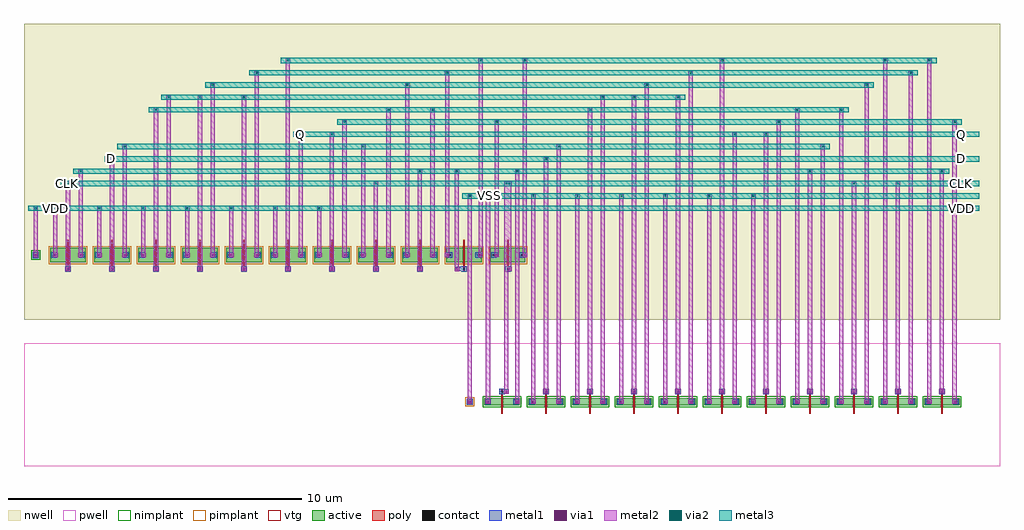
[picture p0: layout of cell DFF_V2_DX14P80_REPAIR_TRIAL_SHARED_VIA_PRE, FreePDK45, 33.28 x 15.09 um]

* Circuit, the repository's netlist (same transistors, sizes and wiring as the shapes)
* cell DFF_V2_DX14P80_REPAIR_TRIAL_SHARED_VIA_PRE
* pin CLK
* pin D
* pin Q
* pin VDD
* pin VSS
.SUBCKT DFF_V2_DX14P80_REPAIR_TRIAL_SHARED_VIA_PRE 1 2 9 12 13
* net 1 CLK
* net 2 D
* net 9 Q
* net 12 VDD
* net 13 VSS
* device instance $1 r0 *1 16.2,7 PMOS_VTG
M$1 11 1 10 12 PMOS_VTG L=0.05U W=0.5U AS=0.2875P AD=0.2875P PS=2.15U PD=2.15U
* device instance $2 r0 *1 14.7,7 PMOS_VTG
M$2 11 5 4 12 PMOS_VTG L=0.05U W=0.5U AS=0.2875P AD=0.2875P PS=2.15U PD=2.15U
* device instance $3 r0 *1 13.2,7 PMOS_VTG
M$3 3 5 8 12 PMOS_VTG L=0.05U W=0.5U AS=0.2875P AD=0.2875P PS=2.15U PD=2.15U
* device instance $4 r0 *1 11.7,7 PMOS_VTG
M$4 3 1 6 12 PMOS_VTG L=0.05U W=0.5U AS=0.2875P AD=0.2875P PS=2.15U PD=2.15U
* device instance $5 r0 *1 10.2,7 PMOS_VTG
M$5 10 9 12 12 PMOS_VTG L=0.05U W=0.5U AS=0.2875P AD=0.2875P PS=2.15U PD=2.15U
* device instance $6 r0 *1 2.7,7 PMOS_VTG
M$6 6 2 12 12 PMOS_VTG L=0.05U W=0.5U AS=0.2875P AD=0.2875P PS=2.15U PD=2.15U
* device instance $7 r0 *1 1.2,7 PMOS_VTG
M$7 5 1 12 12 PMOS_VTG L=0.05U W=0.5U AS=0.2875P AD=0.2875P PS=2.15U PD=2.15U
* device instance $8 r0 *1 8.7,7 PMOS_VTG
M$8 9 11 12 12 PMOS_VTG L=0.05U W=0.5U AS=0.2875P AD=0.2875P PS=2.15U PD=2.15U
* device instance $9 r0 *1 4.2,7 PMOS_VTG
M$9 7 3 12 12 PMOS_VTG L=0.05U W=0.5U AS=0.2875P AD=0.2875P PS=2.15U PD=2.15U
* device instance $10 r0 *1 7.2,7 PMOS_VTG
M$10 4 7 12 12 PMOS_VTG L=0.05U W=0.5U AS=0.2875P AD=0.2875P PS=2.15U PD=2.15U
* device instance $11 r0 *1 5.7,7 PMOS_VTG
M$11 8 7 12 12 PMOS_VTG L=0.05U W=0.5U AS=0.2875P AD=0.2875P PS=2.15U PD=2.15U
* device instance $12 r0 *1 29.5,2 NMOS_VTG
M$12 4 1 11 13 NMOS_VTG L=0.05U W=0.25U AS=0.14375P AD=0.14375P PS=1.65U
+ PD=1.65U
* device instance $13 r0 *1 26.5,2 NMOS_VTG
M$13 6 5 3 13 NMOS_VTG L=0.05U W=0.25U AS=0.14375P AD=0.14375P PS=1.65U PD=1.65U
* device instance $14 r0 *1 25,2 NMOS_VTG
M$14 10 9 13 13 NMOS_VTG L=0.05U W=0.25U AS=0.14375P AD=0.14375P PS=1.65U
+ PD=1.65U
* device instance $15 r0 *1 19,2 NMOS_VTG
M$15 7 3 13 13 NMOS_VTG L=0.05U W=0.25U AS=0.14375P AD=0.14375P PS=1.65U
+ PD=1.65U
* device instance $16 r0 *1 16,2 NMOS_VTG
M$16 5 1 13 13 NMOS_VTG L=0.05U W=0.25U AS=0.14375P AD=0.14375P PS=1.65U
+ PD=1.65U
* device instance $17 r0 *1 28,2 NMOS_VTG
M$17 8 1 3 13 NMOS_VTG L=0.05U W=0.25U AS=0.14375P AD=0.14375P PS=1.65U PD=1.65U
* device instance $18 r0 *1 17.5,2 NMOS_VTG
M$18 6 2 13 13 NMOS_VTG L=0.05U W=0.25U AS=0.14375P AD=0.14375P PS=1.65U
+ PD=1.65U
* device instance $19 r0 *1 31,2 NMOS_VTG
M$19 10 5 11 13 NMOS_VTG L=0.05U W=0.25U AS=0.14375P AD=0.14375P PS=1.65U
+ PD=1.65U
* device instance $20 r0 *1 20.5,2 NMOS_VTG
M$20 8 7 13 13 NMOS_VTG L=0.05U W=0.25U AS=0.14375P AD=0.14375P PS=1.65U
+ PD=1.65U
* device instance $21 r0 *1 22,2 NMOS_VTG
M$21 4 7 13 13 NMOS_VTG L=0.05U W=0.25U AS=0.14375P AD=0.14375P PS=1.65U
+ PD=1.65U
* device instance $22 r0 *1 23.5,2 NMOS_VTG
M$22 9 11 13 13 NMOS_VTG L=0.05U W=0.25U AS=0.14375P AD=0.14375P PS=1.65U
+ PD=1.65U
.ENDS DFF_V2_DX14P80_REPAIR_TRIAL_SHARED_VIA_PRE

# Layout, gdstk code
import gdstk
lib = gdstk.Library(unit=1e-6, precision=5e-10)
def R(c, l, rs):  # rectangles x0, y0, x1, y1
    for r in rs: c.add(gdstk.rectangle(r[:2], r[2:], *l))
def A(c, l, x, y, w, h, nx, ny, dx, dy):  # array of equal rectangles
    R(c, l, [(x+i*dx, y+j*dy, x+i*dx+w, y+j*dy+h) for i in range(nx) for j in range(ny)])
active = (1, 0)
pwell = (2, 0)
nwell = (3, 0)
nimplant = (4, 0)
pimplant = (5, 0)
vtg = (6, 0)
poly = (9, 0)
contact = (10, 0)
metal1 = (11, 0)
via1 = (12, 0)
metal2 = (13, 0)
via2 = (14, 0)
metal3 = (15, 0)

dff_v2_dx14p80_repair_tr = lib.new_cell('DFF_V2_DX14P80_REPAIR_TRIAL_SHARED_VIA_PRE')
A(dff_v2_dx14p80_repair_tr, active, 15.4, 1.875, 1.2, 0.25, 11, 1, 1.5, 0)
A(dff_v2_dx14p80_repair_tr, active, 0.6, 6.75, 1.2, 0.5, 11, 1, 1.5, 0)
R(dff_v2_dx14p80_repair_tr, active, [(14.79,1.89,15.01,2.11), (-0.01,6.89,0.21,7.11)])
R(dff_v2_dx14p80_repair_tr, pwell, [(-0.3,-0.2,32.98,4)])
R(dff_v2_dx14p80_repair_tr, nwell, [(-0.3,4.8,32.98,14.89)])
A(dff_v2_dx14p80_repair_tr, nimplant, 15.34, 1.815, 1.32, 0.37, 11, 1, 1.5, 0)
R(dff_v2_dx14p80_repair_tr, nimplant, [(-0.06,6.84,0.26,7.16)])
A(dff_v2_dx14p80_repair_tr, pimplant, 0.54, 6.69, 1.32, 0.62, 11, 1, 1.5, 0)
R(dff_v2_dx14p80_repair_tr, pimplant, [(14.74,1.84,15.06,2.16)])
A(dff_v2_dx14p80_repair_tr, vtg, 15.965, 1.845, 0.07, 0.31, 11, 1, 1.5, 0)
A(dff_v2_dx14p80_repair_tr, vtg, 1.165, 6.72, 0.07, 0.56, 11, 1, 1.5, 0)
A(dff_v2_dx14p80_repair_tr, poly, 15.975, 1.595, 0.05, 0.81, 11, 1, 1.5, 0)
A(dff_v2_dx14p80_repair_tr, poly, 1.175, 6.47, 0.05, 1.06, 11, 1, 1.5, 0)
A(dff_v2_dx14p80_repair_tr, contact, 15.97, 2.315, 0.065, 0.065, 11, 1, 1.5, 0)
A(dff_v2_dx14p80_repair_tr, contact, 1.17, 6.5, 0.065, 0.065, 11, 1, 1.5, 0)
R(dff_v2_dx14p80_repair_tr, contact, [(14.87,1.97,14.935,2.035), (15.49,1.97,15.555,2.035), (16.45,1.97,16.515,2.035), (16.99,1.97,17.055,2.035), (17.95,1.97,18.015,2.035), (18.49,1.97,18.555,2.035), (19.45,1.97,19.515,2.035), (19.99,1.97,20.055,2.035), (20.95,1.97,21.015,2.035), (21.49,1.97,21.555,2.035), (22.45,1.97,22.515,2.035), (22.99,1.97,23.055,2.035), (23.95,1.97,24.015,2.035), (24.49,1.97,24.555,2.035), (25.45,1.97,25.515,2.035), (25.99,1.97,26.055,2.035), (26.95,1.97,27.015,2.035), (27.49,1.97,27.555,2.035), (28.45,1.97,28.515,2.035), (28.99,1.97,29.055,2.035), (29.95,1.97,30.015,2.035), (30.49,1.97,30.555,2.035), (31.45,1.97,31.515,2.035), (0.07,6.97,0.135,7.035), (0.69,6.97,0.755,7.035), (1.65,6.97,1.715,7.035), (2.19,6.97,2.255,7.035), (3.15,6.97,3.215,7.035), (3.69,6.97,3.755,7.035), (4.65,6.97,4.715,7.035), (5.19,6.97,5.255,7.035), (6.15,6.97,6.215,7.035), (6.69,6.97,6.755,7.035), (7.65,6.97,7.715,7.035), (8.19,6.97,8.255,7.035), (9.15,6.97,9.215,7.035), (9.69,6.97,9.755,7.035), (10.65,6.97,10.715,7.035), (11.19,6.97,11.255,7.035), (12.15,6.97,12.215,7.035), (12.69,6.97,12.755,7.035), (13.65,6.97,13.715,7.035), (14.19,6.97,14.255,7.035), (15.15,6.97,15.215,7.035), (15.69,6.97,15.755,7.035), (16.65,6.97,16.715,7.035)])
A(dff_v2_dx14p80_repair_tr, metal1, 15.91, 2.255, 0.18, 0.18, 11, 1, 1.5, 0)
A(dff_v2_dx14p80_repair_tr, metal1, 17.425, 2.27, 0.15, 0.15, 10, 1, 1.5, 0)
A(dff_v2_dx14p80_repair_tr, metal1, 1.11, 6.44, 0.18, 0.18, 11, 1, 1.5, 0)
A(dff_v2_dx14p80_repair_tr, metal1, 1.125, 6.455, 0.15, 0.15, 9, 1, 1.5, 0)
R(dff_v2_dx14p80_repair_tr, metal1, [(14.8,1.9,15,2.1), (15.43,1.91,15.61,2.09), (16.39,1.91,16.57,2.09), (16.93,1.91,17.11,2.09), (17.89,1.91,18.07,2.09), (18.43,1.91,18.61,2.09), (19.39,1.91,19.57,2.09), (19.93,1.91,20.11,2.09), (20.89,1.91,21.07,2.09), (21.43,1.91,21.61,2.09), (22.39,1.91,22.57,2.09), (22.93,1.91,23.11,2.09), (23.89,1.91,24.07,2.09), (24.43,1.91,24.61,2.09), (25.39,1.91,25.57,2.09), (25.93,1.91,26.11,2.09), (26.89,1.91,27.07,2.09), (27.43,1.91,27.61,2.09), (28.39,1.91,28.57,2.09), (28.93,1.91,29.11,2.09), (29.89,1.91,30.07,2.09), (30.43,1.91,30.61,2.09), (31.39,1.91,31.57,2.09), (14.825,1.925,14.975,2.075), (14.825,1.925,14.975,2.075), (14.825,1.925,14.975,2.075), (14.825,1.925,14.975,2.075), (14.825,1.925,14.975,2.075), (14.825,1.925,14.975,2.075), (14.825,1.925,14.975,2.075), (14.825,1.925,14.975,2.075), (14.825,1.925,14.975,2.075), (14.825,1.925,14.975,2.075), (14.825,1.925,14.975,2.075), (14.825,1.925,14.975,2.075), (15.445,1.925,15.595,2.075), (16.445,1.925,16.595,2.075), (16.995,1.925,17.145,2.075), (17.855,1.925,18.005,2.075), (18.495,1.925,18.645,2.075), (19.355,1.925,19.505,2.075), (19.995,1.925,20.145,2.075), (20.855,1.925,21.005,2.075), (21.495,1.925,21.645,2.075), (22.355,1.925,22.505,2.075), (22.995,1.925,23.145,2.075), (23.855,1.925,24.005,2.075), (24.495,1.925,24.645,2.075), (25.355,1.925,25.505,2.075), (25.995,1.925,26.145,2.075), (26.855,1.925,27.005,2.075), (27.495,1.925,27.645,2.075), (28.355,1.925,28.505,2.075), (28.995,1.925,29.145,2.075), (29.855,1.925,30.005,2.075), (30.495,1.925,30.645,2.075), (31.355,1.925,31.505,2.075), (15.52,1.93,15.57,2.07), (16.43,1.93,16.52,2.07), (16.075,2.27,16.225,2.42), (16,2.275,16.15,2.415), (14.385,6.455,14.535,6.605), (16.175,6.455,16.325,6.605), (14.46,6.46,14.7,6.6), (16.2,6.46,16.25,6.6), (0,6.9,0.2,7.1), (0.63,6.91,0.81,7.09), (1.59,6.91,1.77,7.09), (2.13,6.91,2.31,7.09), (3.09,6.91,3.27,7.09), (3.63,6.91,3.81,7.09), (4.59,6.91,4.77,7.09), (5.13,6.91,5.31,7.09), (6.09,6.91,6.27,7.09), (6.63,6.91,6.81,7.09), (7.59,6.91,7.77,7.09), (8.13,6.91,8.31,7.09), (9.09,6.91,9.27,7.09), (9.63,6.91,9.81,7.09), (10.59,6.91,10.77,7.09), (11.13,6.91,11.31,7.09), (12.09,6.91,12.27,7.09), (12.63,6.91,12.81,7.09), (13.59,6.91,13.77,7.09), (14.13,6.91,14.31,7.09), (15.09,6.91,15.27,7.09), (15.63,6.91,15.81,7.09), (16.59,6.91,16.77,7.09), (0.025,6.925,0.175,7.075), (0.025,6.925,0.175,7.075), (0.025,6.925,0.175,7.075), (0.025,6.925,0.175,7.075), (0.025,6.925,0.175,7.075), (0.025,6.925,0.175,7.075), (0.025,6.925,0.175,7.075), (0.025,6.925,0.175,7.075), (0.025,6.925,0.175,7.075), (0.025,6.925,0.175,7.075), (0.025,6.925,0.175,7.075), (0.025,6.925,0.175,7.075), (0.695,6.925,0.845,7.075), (1.555,6.925,1.705,7.075), (2.195,6.925,2.345,7.075), (3.055,6.925,3.205,7.075), (3.695,6.925,3.845,7.075), (4.555,6.925,4.705,7.075), (5.195,6.925,5.345,7.075), (6.055,6.925,6.205,7.075), (6.695,6.925,6.845,7.075), (7.555,6.925,7.705,7.075), (8.195,6.925,8.345,7.075), (9.055,6.925,9.205,7.075), (9.695,6.925,9.845,7.075), (10.555,6.925,10.705,7.075), (11.195,6.925,11.345,7.075), (12.055,6.925,12.205,7.075), (12.695,6.925,12.845,7.075), (13.555,6.925,13.705,7.075), (14.055,6.925,14.205,7.075), (15.195,6.925,15.345,7.075), (15.745,6.925,15.895,7.075), (16.705,6.925,16.855,7.075), (14.13,6.93,14.27,7.07), (15.13,6.93,15.27,7.07), (15.77,6.93,15.82,7.07), (16.63,6.93,16.78,7.07)])
A(dff_v2_dx14p80_repair_tr, via1, 17.47, 2.315, 0.065, 0.065, 10, 1, 1.5, 0)
A(dff_v2_dx14p80_repair_tr, via1, 1.17, 6.5, 0.065, 0.065, 9, 1, 1.5, 0)
R(dff_v2_dx14p80_repair_tr, via1, [(14.87,1.97,14.935,2.035), (14.87,1.97,14.935,2.035), (14.87,1.97,14.935,2.035), (14.87,1.97,14.935,2.035), (14.87,1.97,14.935,2.035), (14.87,1.97,14.935,2.035), (14.87,1.97,14.935,2.035), (14.87,1.97,14.935,2.035), (14.87,1.97,14.935,2.035), (14.87,1.97,14.935,2.035), (14.87,1.97,14.935,2.035), (14.87,1.97,14.935,2.035), (15.49,1.97,15.555,2.035), (16.49,1.97,16.555,2.035), (17.04,1.97,17.105,2.035), (17.9,1.97,17.965,2.035), (18.54,1.97,18.605,2.035), (19.4,1.97,19.465,2.035), (20.04,1.97,20.105,2.035), (20.9,1.97,20.965,2.035), (21.54,1.97,21.605,2.035), (22.4,1.97,22.465,2.035), (23.04,1.97,23.105,2.035), (23.9,1.97,23.965,2.035), (24.54,1.97,24.605,2.035), (25.4,1.97,25.465,2.035), (26.04,1.97,26.105,2.035), (26.9,1.97,26.965,2.035), (27.54,1.97,27.605,2.035), (28.4,1.97,28.465,2.035), (29.04,1.97,29.105,2.035), (29.9,1.97,29.965,2.035), (30.54,1.97,30.605,2.035), (31.4,1.97,31.465,2.035), (16.12,2.315,16.185,2.38), (14.43,6.5,14.495,6.565), (16.22,6.5,16.285,6.565), (0.07,6.97,0.135,7.035), (0.07,6.97,0.135,7.035), (0.07,6.97,0.135,7.035), (0.07,6.97,0.135,7.035), (0.07,6.97,0.135,7.035), (0.07,6.97,0.135,7.035), (0.07,6.97,0.135,7.035), (0.07,6.97,0.135,7.035), (0.07,6.97,0.135,7.035), (0.07,6.97,0.135,7.035), (0.07,6.97,0.135,7.035), (0.07,6.97,0.135,7.035), (0.74,6.97,0.805,7.035), (1.6,6.97,1.665,7.035), (2.24,6.97,2.305,7.035), (3.1,6.97,3.165,7.035), (3.74,6.97,3.805,7.035), (4.6,6.97,4.665,7.035), (5.24,6.97,5.305,7.035), (6.1,6.97,6.165,7.035), (6.74,6.97,6.805,7.035), (7.6,6.97,7.665,7.035), (8.24,6.97,8.305,7.035), (9.1,6.97,9.165,7.035), (9.74,6.97,9.805,7.035), (10.6,6.97,10.665,7.035), (11.24,6.97,11.305,7.035), (12.1,6.97,12.165,7.035), (12.74,6.97,12.805,7.035), (13.6,6.97,13.665,7.035), (14.1,6.97,14.165,7.035), (15.24,6.97,15.305,7.035), (15.79,6.97,15.855,7.035), (16.75,6.97,16.815,7.035)])
A(dff_v2_dx14p80_repair_tr, metal2, 17, 2, 0.14, 7.02, 6, 1, 1.5, 0)
A(dff_v2_dx14p80_repair_tr, metal2, 17.425, 2.27, 0.15, 0.15, 10, 1, 1.5, 0)
A(dff_v2_dx14p80_repair_tr, metal2, 1.125, 6.455, 0.15, 0.15, 9, 1, 1.5, 0)
A(dff_v2_dx14p80_repair_tr, metal2, 0.7, 7, 0.14, 1.6, 7, 1, 1.5, 0)
A(dff_v2_dx14p80_repair_tr, metal2, 0.695, 8.525, 0.15, 0.15, 7, 1, 1.5, 0)
A(dff_v2_dx14p80_repair_tr, metal2, 16.995, 8.945, 0.15, 0.15, 6, 1, 1.5, 0)
R(dff_v2_dx14p80_repair_tr, metal2, [(14.825,1.925,14.975,2.075), (14.825,1.925,14.975,2.075), (14.825,1.925,14.975,2.075), (14.825,1.925,14.975,2.075), (14.825,1.925,14.975,2.075), (14.825,1.925,14.975,2.075), (14.825,1.925,14.975,2.075), (14.825,1.925,14.975,2.075), (14.825,1.925,14.975,2.075), (14.825,1.925,14.975,2.075), (14.825,1.925,14.975,2.075), (14.825,1.925,14.975,2.075), (15.445,1.925,15.595,2.075), (16.445,1.925,16.595,2.075), (16.995,1.925,17.145,2.075), (17.855,1.925,18.005,2.075), (18.495,1.925,18.645,2.075), (19.355,1.925,19.505,2.075), (19.995,1.925,20.145,2.075), (20.855,1.925,21.005,2.075), (21.495,1.925,21.645,2.075), (22.355,1.925,22.505,2.075), (22.995,1.925,23.145,2.075), (23.855,1.925,24.005,2.075), (24.495,1.925,24.645,2.075), (25.355,1.925,25.505,2.075), (25.995,1.925,26.145,2.075), (26.855,1.925,27.005,2.075), (27.495,1.925,27.645,2.075), (28.355,1.925,28.505,2.075), (28.995,1.925,29.145,2.075), (29.855,1.925,30.005,2.075), (30.495,1.925,30.645,2.075), (31.355,1.925,31.505,2.075), (14.83,2,14.97,9.02), (14.83,2,14.97,9.02), (14.83,2,14.97,9.02), (14.83,2,14.97,9.02), (14.83,2,14.97,9.02), (14.83,2,14.97,9.02), (14.83,2,14.97,9.02), (14.83,2,14.97,9.02), (14.83,2,14.97,9.02), (14.83,2,14.97,9.02), (14.83,2,14.97,9.02), (14.83,2,14.97,9.02), (15.45,2,15.59,9.02), (16.45,2,16.59,9.86), (17.86,2,18,10.7), (19.36,2,19.5,12.38), (20.86,2,21,12.8), (22.36,2,22.5,13.22), (23.86,2,24,11.12), (25.36,2,25.5,11.54), (26,2,26.14,11.96), (26.86,2,27,10.7), (27.5,2,27.64,11.96), (28.36,2,28.5,12.8), (29,2,29.14,13.64), (29.86,2,30,13.22), (30.5,2,30.64,13.64), (31.36,2,31.5,11.54), (16.075,2.27,16.225,2.42), (16.08,2.345,16.22,9.44), (17.43,2.345,17.57,10.28), (18.93,2.345,19.07,11.96), (20.43,2.345,20.57,12.38), (21.93,2.345,22.07,12.38), (23.43,2.345,23.57,13.64), (24.93,2.345,25.07,11.12), (26.43,2.345,26.57,9.86), (27.93,2.345,28.07,9.44), (29.43,2.345,29.57,9.44), (30.93,2.345,31.07,9.86), (14.385,6.455,14.535,6.605), (16.175,6.455,16.325,6.605), (1.13,6.53,1.27,9.44), (2.63,6.53,2.77,10.28), (4.13,6.53,4.27,11.96), (5.63,6.53,5.77,12.38), (7.13,6.53,7.27,12.38), (8.63,6.53,8.77,13.64), (10.13,6.53,10.27,11.12), (11.63,6.53,11.77,9.44), (13.13,6.53,13.27,9.86), (14.39,6.53,14.53,9.86), (16.18,6.53,16.32,9.44), (0.025,6.925,0.175,7.075), (0.025,6.925,0.175,7.075), (0.025,6.925,0.175,7.075), (0.025,6.925,0.175,7.075), (0.025,6.925,0.175,7.075), (0.025,6.925,0.175,7.075), (0.025,6.925,0.175,7.075), (0.025,6.925,0.175,7.075), (0.025,6.925,0.175,7.075), (0.025,6.925,0.175,7.075), (0.025,6.925,0.175,7.075), (0.025,6.925,0.175,7.075), (0.695,6.925,0.845,7.075), (1.555,6.925,1.705,7.075), (2.195,6.925,2.345,7.075), (3.055,6.925,3.205,7.075), (3.695,6.925,3.845,7.075), (4.555,6.925,4.705,7.075), (5.195,6.925,5.345,7.075), (6.055,6.925,6.205,7.075), (6.695,6.925,6.845,7.075), (7.555,6.925,7.705,7.075), (8.195,6.925,8.345,7.075), (9.055,6.925,9.205,7.075), (9.695,6.925,9.845,7.075), (10.555,6.925,10.705,7.075), (11.195,6.925,11.345,7.075), (12.055,6.925,12.205,7.075), (12.695,6.925,12.845,7.075), (13.555,6.925,13.705,7.075), (14.055,6.925,14.205,7.075), (15.195,6.925,15.345,7.075), (15.745,6.925,15.895,7.075), (16.705,6.925,16.855,7.075), (0.03,7,0.17,8.6), (0.03,7,0.17,8.6), (0.03,7,0.17,8.6), (0.03,7,0.17,8.6), (0.03,7,0.17,8.6), (0.03,7,0.17,8.6), (0.03,7,0.17,8.6), (0.03,7,0.17,8.6), (0.03,7,0.17,8.6), (0.03,7,0.17,8.6), (0.03,7,0.17,8.6), (0.03,7,0.17,8.6), (1.56,7,1.7,9.86), (3.06,7,3.2,10.7), (4.56,7,4.7,12.38), (6.06,7,6.2,12.8), (7.56,7,7.7,13.22), (9.06,7,9.2,11.12), (10.56,7,10.7,11.54), (11.2,7,11.34,10.7), (12.06,7,12.2,11.96), (12.7,7,12.84,12.8), (13.56,7,13.7,11.96), (14.06,7,14.2,13.22), (15.2,7,15.34,13.64), (15.75,7,15.89,11.54), (16.71,7,16.85,13.64), (0.025,8.525,0.175,8.675), (0.025,8.525,0.175,8.675), (0.025,8.525,0.175,8.675), (0.025,8.525,0.175,8.675), (0.025,8.525,0.175,8.675), (0.025,8.525,0.175,8.675), (0.025,8.525,0.175,8.675), (0.025,8.525,0.175,8.675), (0.025,8.525,0.175,8.675), (0.025,8.525,0.175,8.675), (0.025,8.525,0.175,8.675), (0.025,8.525,0.175,8.675), (14.825,8.945,14.975,9.095), (14.825,8.945,14.975,9.095), (14.825,8.945,14.975,9.095), (14.825,8.945,14.975,9.095), (14.825,8.945,14.975,9.095), (14.825,8.945,14.975,9.095), (14.825,8.945,14.975,9.095), (14.825,8.945,14.975,9.095), (14.825,8.945,14.975,9.095), (14.825,8.945,14.975,9.095), (14.825,8.945,14.975,9.095), (14.825,8.945,14.975,9.095), (15.445,8.945,15.595,9.095), (1.125,9.365,1.275,9.515), (11.625,9.365,11.775,9.515), (16.075,9.365,16.225,9.515), (16.175,9.365,16.325,9.515), (27.925,9.365,28.075,9.515), (29.425,9.365,29.575,9.515), (1.555,9.785,1.705,9.935), (13.125,9.785,13.275,9.935), (14.385,9.785,14.535,9.935), (16.445,9.785,16.595,9.935), (26.425,9.785,26.575,9.935), (30.925,9.785,31.075,9.935), (2.625,10.205,2.775,10.355), (17.425,10.205,17.575,10.355), (3.055,10.625,3.205,10.775), (11.195,10.625,11.345,10.775), (17.855,10.625,18.005,10.775), (26.855,10.625,27.005,10.775), (9.055,11.045,9.205,11.195), (10.125,11.045,10.275,11.195), (23.855,11.045,24.005,11.195), (24.925,11.045,25.075,11.195), (10.555,11.465,10.705,11.615), (15.745,11.465,15.895,11.615), (25.355,11.465,25.505,11.615), (31.355,11.465,31.505,11.615), (4.125,11.885,4.275,12.035), (12.055,11.885,12.205,12.035), (13.555,11.885,13.705,12.035), (18.925,11.885,19.075,12.035), (25.995,11.885,26.145,12.035), (27.495,11.885,27.645,12.035), (4.555,12.305,4.705,12.455), (5.625,12.305,5.775,12.455), (7.125,12.305,7.275,12.455), (19.355,12.305,19.505,12.455), (20.425,12.305,20.575,12.455), (21.925,12.305,22.075,12.455), (6.055,12.725,6.205,12.875), (12.695,12.725,12.845,12.875), (20.855,12.725,21.005,12.875), (28.355,12.725,28.505,12.875), (7.555,13.145,7.705,13.295), (14.055,13.145,14.205,13.295), (22.355,13.145,22.505,13.295), (29.855,13.145,30.005,13.295), (8.625,13.565,8.775,13.715), (15.195,13.565,15.345,13.715), (16.705,13.565,16.855,13.715), (23.425,13.565,23.575,13.715), (28.995,13.565,29.145,13.715), (30.495,13.565,30.645,13.715)])
A(dff_v2_dx14p80_repair_tr, via2, 0.74, 8.57, 0.065, 0.065, 7, 1, 1.5, 0)
A(dff_v2_dx14p80_repair_tr, via2, 17.04, 8.99, 0.065, 0.065, 6, 1, 1.5, 0)
R(dff_v2_dx14p80_repair_tr, via2, [(0.07,8.57,0.135,8.635), (0.07,8.57,0.135,8.635), (0.07,8.57,0.135,8.635), (0.07,8.57,0.135,8.635), (0.07,8.57,0.135,8.635), (0.07,8.57,0.135,8.635), (0.07,8.57,0.135,8.635), (0.07,8.57,0.135,8.635), (0.07,8.57,0.135,8.635), (0.07,8.57,0.135,8.635), (0.07,8.57,0.135,8.635), (0.07,8.57,0.135,8.635), (14.87,8.99,14.935,9.055), (14.87,8.99,14.935,9.055), (14.87,8.99,14.935,9.055), (14.87,8.99,14.935,9.055), (14.87,8.99,14.935,9.055), (14.87,8.99,14.935,9.055), (14.87,8.99,14.935,9.055), (14.87,8.99,14.935,9.055), (14.87,8.99,14.935,9.055), (14.87,8.99,14.935,9.055), (14.87,8.99,14.935,9.055), (14.87,8.99,14.935,9.055), (15.49,8.99,15.555,9.055), (1.17,9.41,1.235,9.475), (11.67,9.41,11.735,9.475), (16.12,9.41,16.185,9.475), (16.22,9.41,16.285,9.475), (27.97,9.41,28.035,9.475), (29.47,9.41,29.535,9.475), (1.6,9.83,1.665,9.895), (13.17,9.83,13.235,9.895), (14.43,9.83,14.495,9.895), (16.49,9.83,16.555,9.895), (26.47,9.83,26.535,9.895), (30.97,9.83,31.035,9.895), (2.67,10.25,2.735,10.315), (17.47,10.25,17.535,10.315), (3.1,10.67,3.165,10.735), (11.24,10.67,11.305,10.735), (17.9,10.67,17.965,10.735), (26.9,10.67,26.965,10.735), (9.1,11.09,9.165,11.155), (10.17,11.09,10.235,11.155), (23.9,11.09,23.965,11.155), (24.97,11.09,25.035,11.155), (10.6,11.51,10.665,11.575), (15.79,11.51,15.855,11.575), (25.4,11.51,25.465,11.575), (31.4,11.51,31.465,11.575), (4.17,11.93,4.235,11.995), (12.1,11.93,12.165,11.995), (13.6,11.93,13.665,11.995), (18.97,11.93,19.035,11.995), (26.04,11.93,26.105,11.995), (27.54,11.93,27.605,11.995), (4.6,12.35,4.665,12.415), (5.67,12.35,5.735,12.415), (7.17,12.35,7.235,12.415), (19.4,12.35,19.465,12.415), (20.47,12.35,20.535,12.415), (21.97,12.35,22.035,12.415), (6.1,12.77,6.165,12.835), (12.74,12.77,12.805,12.835), (20.9,12.77,20.965,12.835), (28.4,12.77,28.465,12.835), (7.6,13.19,7.665,13.255), (14.1,13.19,14.165,13.255), (22.4,13.19,22.465,13.255), (29.9,13.19,29.965,13.255), (8.67,13.61,8.735,13.675), (15.24,13.61,15.305,13.675), (16.75,13.61,16.815,13.675), (23.47,13.61,23.535,13.675), (29.04,13.61,29.105,13.675), (30.54,13.61,30.605,13.675)])
A(dff_v2_dx14p80_repair_tr, metal3, 0.695, 8.525, 0.15, 0.15, 7, 1, 1.5, 0)
A(dff_v2_dx14p80_repair_tr, metal3, 16.995, 8.945, 0.15, 0.15, 6, 1, 1.5, 0)
R(dff_v2_dx14p80_repair_tr, metal3, [(-0.15,8.51,10.02,8.69), (10.02,8.51,32.28,8.69), (0.025,8.525,0.175,8.675), (0.025,8.525,0.175,8.675), (0.025,8.525,0.175,8.675), (0.025,8.525,0.175,8.675), (0.025,8.525,0.175,8.675), (0.025,8.525,0.175,8.675), (0.025,8.525,0.175,8.675), (0.025,8.525,0.175,8.675), (0.025,8.525,0.175,8.675), (0.025,8.525,0.175,8.675), (0.025,8.525,0.175,8.675), (0.025,8.525,0.175,8.675), (14.65,8.93,24.82,9.11), (24.82,8.93,32.28,9.11), (14.825,8.945,14.975,9.095), (14.825,8.945,14.975,9.095), (14.825,8.945,14.975,9.095), (14.825,8.945,14.975,9.095), (14.825,8.945,14.975,9.095), (14.825,8.945,14.975,9.095), (14.825,8.945,14.975,9.095), (14.825,8.945,14.975,9.095), (14.825,8.945,14.975,9.095), (14.825,8.945,14.975,9.095), (14.825,8.945,14.975,9.095), (14.825,8.945,14.975,9.095), (15.445,8.945,15.595,9.095), (0.95,9.35,29.75,9.53), (29.75,9.35,32.28,9.53), (1.125,9.365,1.275,9.515), (11.625,9.365,11.775,9.515), (16.075,9.365,16.225,9.515), (16.175,9.365,16.325,9.515), (27.925,9.365,28.075,9.515), (29.425,9.365,29.575,9.515), (1.38,9.77,31.25,9.95), (1.555,9.785,1.705,9.935), (13.125,9.785,13.275,9.935), (14.385,9.785,14.535,9.935), (16.445,9.785,16.595,9.935), (26.425,9.785,26.575,9.935), (30.925,9.785,31.075,9.935), (2.45,10.19,17.75,10.37), (17.75,10.19,32.28,10.37), (2.625,10.205,2.775,10.355), (17.425,10.205,17.575,10.355), (2.88,10.61,27.18,10.79), (3.055,10.625,3.205,10.775), (11.195,10.625,11.345,10.775), (17.855,10.625,18.005,10.775), (26.855,10.625,27.005,10.775), (8.88,11.03,25.25,11.21), (25.25,11.03,32.28,11.21), (9.055,11.045,9.205,11.195), (10.125,11.045,10.275,11.195), (23.855,11.045,24.005,11.195), (24.925,11.045,25.075,11.195), (10.38,11.45,31.68,11.63), (10.555,11.465,10.705,11.615), (15.745,11.465,15.895,11.615), (25.355,11.465,25.505,11.615), (31.355,11.465,31.505,11.615), (3.95,11.87,27.82,12.05), (4.125,11.885,4.275,12.035), (12.055,11.885,12.205,12.035), (13.555,11.885,13.705,12.035), (18.925,11.885,19.075,12.035), (25.995,11.885,26.145,12.035), (27.495,11.885,27.645,12.035), (4.38,12.29,22.25,12.47), (4.555,12.305,4.705,12.455), (5.625,12.305,5.775,12.455), (7.125,12.305,7.275,12.455), (19.355,12.305,19.505,12.455), (20.425,12.305,20.575,12.455), (21.925,12.305,22.075,12.455), (5.88,12.71,28.68,12.89), (6.055,12.725,6.205,12.875), (12.695,12.725,12.845,12.875), (20.855,12.725,21.005,12.875), (28.355,12.725,28.505,12.875), (7.38,13.13,30.18,13.31), (7.555,13.145,7.705,13.295), (14.055,13.145,14.205,13.295), (22.355,13.145,22.505,13.295), (29.855,13.145,30.005,13.295), (8.45,13.55,30.82,13.73), (8.625,13.565,8.775,13.715), (15.195,13.565,15.345,13.715), (16.705,13.565,16.855,13.715), (23.425,13.565,23.575,13.715), (28.995,13.565,29.145,13.715), (30.495,13.565,30.645,13.715)])
dff_v2_dx14p80_repair_tr.add(gdstk.Label('VDD', (31.68,8.6), layer=15, texttype=0))
dff_v2_dx14p80_repair_tr.add(gdstk.Label('VDD', (31.68,8.6), layer=15, texttype=1))
dff_v2_dx14p80_repair_tr.add(gdstk.Label('VDD', (31.68,8.6), layer=15, texttype=2))
dff_v2_dx14p80_repair_tr.add(gdstk.Label('VDD', (0.77,8.6), layer=13, texttype=0))
dff_v2_dx14p80_repair_tr.add(gdstk.Label('VDD', (0.77,8.6), layer=13, texttype=1))
dff_v2_dx14p80_repair_tr.add(gdstk.Label('VDD', (0.77,8.6), layer=13, texttype=2))
dff_v2_dx14p80_repair_tr.add(gdstk.Label('VSS', (31.68,9.02), layer=15, texttype=0))
dff_v2_dx14p80_repair_tr.add(gdstk.Label('VSS', (31.68,9.02), layer=15, texttype=1))
dff_v2_dx14p80_repair_tr.add(gdstk.Label('VSS', (31.68,9.02), layer=15, texttype=2))
dff_v2_dx14p80_repair_tr.add(gdstk.Label('VSS', (15.57,9.02), layer=13, texttype=0))
dff_v2_dx14p80_repair_tr.add(gdstk.Label('VSS', (15.57,9.02), layer=13, texttype=1))
dff_v2_dx14p80_repair_tr.add(gdstk.Label('VSS', (15.57,9.02), layer=13, texttype=2))
dff_v2_dx14p80_repair_tr.add(gdstk.Label('D', (31.68,10.28), layer=15, texttype=0))
dff_v2_dx14p80_repair_tr.add(gdstk.Label('D', (31.68,10.28), layer=15, texttype=1))
dff_v2_dx14p80_repair_tr.add(gdstk.Label('D', (31.68,10.28), layer=15, texttype=2))
dff_v2_dx14p80_repair_tr.add(gdstk.Label('D', (2.7,10.28), layer=13, texttype=0))
dff_v2_dx14p80_repair_tr.add(gdstk.Label('D', (2.7,10.28), layer=13, texttype=1))
dff_v2_dx14p80_repair_tr.add(gdstk.Label('D', (2.7,10.28), layer=13, texttype=2))
dff_v2_dx14p80_repair_tr.add(gdstk.Label('Q', (31.68,11.12), layer=15, texttype=0))
dff_v2_dx14p80_repair_tr.add(gdstk.Label('Q', (31.68,11.12), layer=15, texttype=1))
dff_v2_dx14p80_repair_tr.add(gdstk.Label('Q', (31.68,11.12), layer=15, texttype=2))
dff_v2_dx14p80_repair_tr.add(gdstk.Label('Q', (9.13,11.12), layer=13, texttype=0))
dff_v2_dx14p80_repair_tr.add(gdstk.Label('Q', (9.13,11.12), layer=13, texttype=1))
dff_v2_dx14p80_repair_tr.add(gdstk.Label('Q', (9.13,11.12), layer=13, texttype=2))
dff_v2_dx14p80_repair_tr.add(gdstk.Label('CLK', (31.68,9.44), layer=15, texttype=0))
dff_v2_dx14p80_repair_tr.add(gdstk.Label('CLK', (31.68,9.44), layer=15, texttype=1))
dff_v2_dx14p80_repair_tr.add(gdstk.Label('CLK', (31.68,9.44), layer=15, texttype=2))
dff_v2_dx14p80_repair_tr.add(gdstk.Label('CLK', (1.2,9.44), layer=13, texttype=0))
dff_v2_dx14p80_repair_tr.add(gdstk.Label('CLK', (1.2,9.44), layer=13, texttype=1))
dff_v2_dx14p80_repair_tr.add(gdstk.Label('CLK', (1.2,9.44), layer=13, texttype=2))

lib.write_gds('DFF_V2_DX14P80_REPAIR_TRIAL_SHARED_VIA_PRE.gds')
